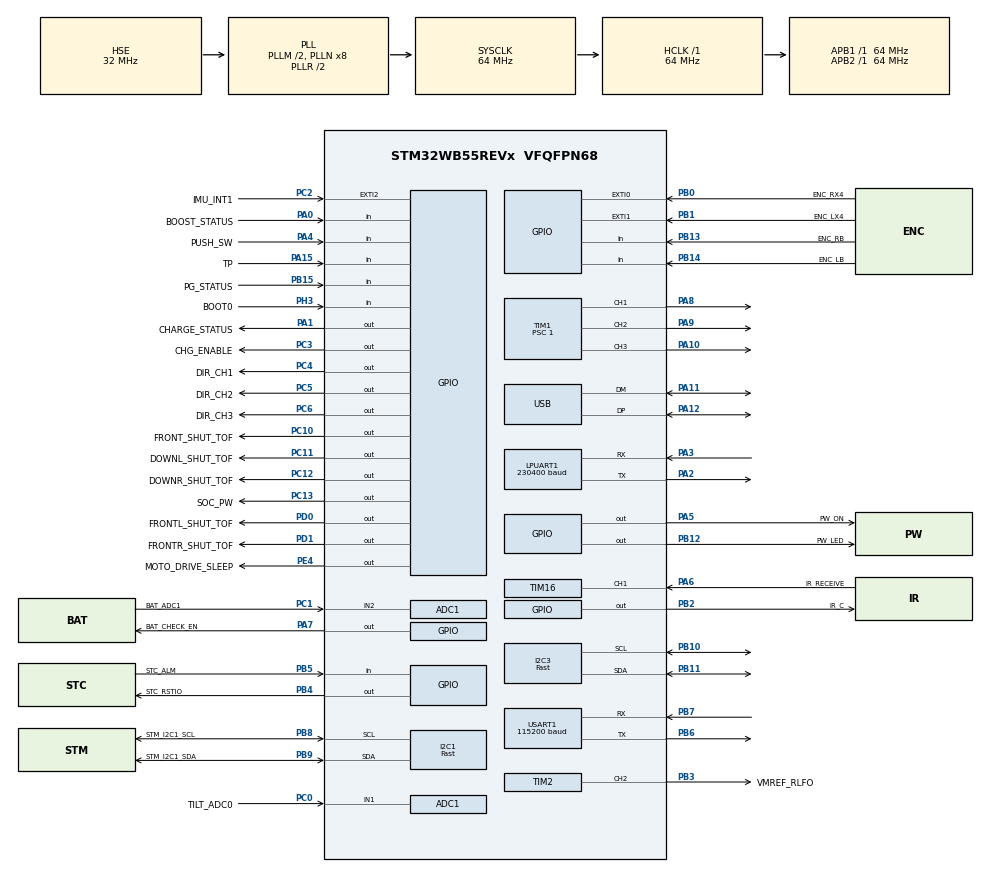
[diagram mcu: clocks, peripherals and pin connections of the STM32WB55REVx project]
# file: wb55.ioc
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ADC1.Channel-0\#ChannelRegularConversion=ADC_CHANNEL_1
ADC1.Channel-1\#ChannelRegularConversion=ADC_CHANNEL_1
ADC1.ClockPrescaler=ADC_CLOCK_ASYNC_DIV6
ADC1.ContinuousConvMode=ENABLE
ADC1.DMAContinuousRequests=ENABLE
ADC1.NbrOfConversion=2
ADC1.NbrOfConversionFlag=1
ADC1.OffsetNumber-0\#ChannelRegularConversion=ADC_OFFSET_NONE
ADC1.OffsetNumber-1\#ChannelRegularConversion=ADC_OFFSET_NONE
ADC1.Rank-0\#ChannelRegularConversion=1
ADC1.Rank-1\#ChannelRegularConversion=2
ADC1.Resolution=ADC_RESOLUTION_12B
ADC1.SamplingTime-0\#ChannelRegularConversion=ADC_SAMPLETIME_92CYCLES_5
ADC1.SamplingTime-1\#ChannelRegularConversion=ADC_SAMPLETIME_92CYCLES_5
ADC1.master=1
Dma.ADC1.1.Direction=DMA_PERIPH_TO_MEMORY
Dma.ADC1.1.EventEnable=DISABLE
Dma.ADC1.1.Instance=DMA1_Channel2
Dma.ADC1.1.MemDataAlignment=DMA_MDATAALIGN_HALFWORD
Dma.ADC1.1.MemInc=DMA_MINC_ENABLE
Dma.ADC1.1.Mode=DMA_CIRCULAR
Dma.ADC1.1.PeriphDataAlignment=DMA_PDATAALIGN_HALFWORD
Dma.ADC1.1.PeriphInc=DMA_PINC_DISABLE
Dma.ADC1.1.Polarity=HAL_DMAMUX_REQ_GEN_RISING
Dma.ADC1.1.Priority=DMA_PRIORITY_LOW
Dma.ADC1.1.RequestNumber=1
Dma.ADC1.1.SignalID=NONE
Dma.ADC1.1.SyncEnable=DISABLE
Dma.ADC1.1.SyncPolarity=HAL_DMAMUX_SYNC_NO_EVENT
Dma.ADC1.1.SyncRequestNumber=1
Dma.ADC1.1.SyncSignalID=NONE
Dma.LPUART1_TX.0.Direction=DMA_MEMORY_TO_PERIPH
Dma.LPUART1_TX.0.EventEnable=DISABLE
Dma.LPUART1_TX.0.Instance=DMA1_Channel1
Dma.LPUART1_TX.0.MemDataAlignment=DMA_MDATAALIGN_BYTE
Dma.LPUART1_TX.0.MemInc=DMA_MINC_ENABLE
Dma.LPUART1_TX.0.Mode=DMA_NORMAL
Dma.LPUART1_TX.0.PeriphDataAlignment=DMA_PDATAALIGN_BYTE
Dma.LPUART1_TX.0.PeriphInc=DMA_PINC_DISABLE
Dma.LPUART1_TX.0.Polarity=HAL_DMAMUX_REQ_GEN_RISING
Dma.LPUART1_TX.0.Priority=DMA_PRIORITY_LOW
Dma.LPUART1_TX.0.RequestNumber=1
Dma.LPUART1_TX.0.SignalID=NONE
Dma.LPUART1_TX.0.SyncEnable=DISABLE
Dma.LPUART1_TX.0.SyncPolarity=HAL_DMAMUX_SYNC_NO_EVENT
Dma.LPUART1_TX.0.SyncRequestNumber=1
Dma.LPUART1_TX.0.SyncSignalID=NONE
Dma.Request0=LPUART1_TX
Dma.Request1=ADC1
I2C1.I2C_Speed_Mode=I2C_Fast
I2C1.Timing=0x00602173
I2C3.I2C_Speed_Mode=I2C_Fast
I2C3.Timing=0x00602173
LPUART1.BaudRate=230400
LPUART1.FIFOMode=UART_FIFOMODE_DISABLE
LPUART1.OneBitSampling=UART_ONE_BIT_SAMPLE_ENABLE
LPUART1.RXFIFOThreshold=UART_RXFIFO_THRESHOLD_1_8
LPUART1.TXFIFOThreshold=UART_TXFIFO_THRESHOLD_1_8
LPUART1.WordLength=UART_WORDLENGTH_8B
Mcu.Family=STM32WB
Mcu.Name=STM32WB55REVx
Mcu.Package=VFQFPN68
Mcu.UserConstants=MAX_DC_SPEED,1600
NVIC.DMA1_Channel1_IRQn=true\:0\:0\:true\:false\:true\:false\:true
NVIC.DMA1_Channel2_IRQn=true\:0\:0\:false\:false\:true\:false\:true
NVIC.EXTI0_IRQn=true\:1\:0\:true\:false\:true\:true\:true
NVIC.EXTI1_IRQn=true\:1\:0\:true\:false\:true\:true\:true
NVIC.LPUART1_IRQn=true\:1\:0\:true\:false\:true\:true\:true
NVIC.PriorityGroup=NVIC_PRIORITYGROUP_4
NVIC.TIM1_TRG_COM_TIM17_IRQn=true\:1\:0\:true\:false\:true\:true\:true
NVIC.TIM1_UP_TIM16_IRQn=true\:1\:0\:true\:false\:true\:true\:true
NVIC.USART1_IRQn=true\:0\:0\:false\:false\:true\:true\:true
OSC_IN.Mode=HSE-External-Oscillator
OSC_IN.Signal=RCC_OSC_IN
OSC_OUT.Mode=HSE-External-Oscillator
OSC_OUT.Signal=RCC_OSC_OUT
PA0.GPIO_Label=BOOST_STATUS
PA0.Signal=GPIO_Input
PA1.GPIO_Label=CHARGE_STATUS
PA1.Signal=GPIO_Output
PA10.Signal=S_TIM1_CH3
PA11.Mode=Device
PA11.Signal=USB_DM
PA12.Mode=Device
PA12.Signal=USB_DP
PA13.Mode=Serial_Wire
PA13.Signal=SYS_JTMS-SWDIO
PA14.Mode=Serial_Wire
PA14.Signal=SYS_JTCK-SWCLK
PA15.GPIO_Label=TP
PA15.Signal=GPIO_Input
PA2.Mode=Asynchronous
PA2.Signal=LPUART1_TX
PA3.Mode=Asynchronous
PA3.Signal=LPUART1_RX
PA4.GPIO_Label=PUSH_SW
PA4.Signal=GPIO_Input
PA5.GPIO_Label=PW_ON
PA5.Signal=GPIO_Output
PA6.GPIO_Label=IR_RECEIVE
PA6.Signal=S_TIM16_CH1
PA7.GPIO_Label=BAT_CHECK_EN
PA7.Signal=GPIO_Output
PA8.Signal=S_TIM1_CH1
PA9.Signal=S_TIM1_CH2
PB0.GPIO_Label=ENC_RX4
PB0.GPIO_ModeDefaultEXTI=GPIO_MODE_IT_RISING_FALLING
PB0.Signal=GPXTI0
PB1.GPIO_Label=ENC_LX4
PB1.GPIO_ModeDefaultEXTI=GPIO_MODE_IT_RISING_FALLING
PB1.Signal=GPXTI1
PB10.Mode=I2C
PB10.Signal=I2C3_SCL
PB11.Mode=I2C
PB11.Signal=I2C3_SDA
PB12.GPIO_Label=PW_LED
PB12.Signal=GPIO_Output
PB13.GPIO_Label=ENC_RB
PB13.Signal=GPIO_Input
PB14.GPIO_Label=ENC_LB
PB14.Signal=GPIO_Input
PB15.GPIO_Label=PG_STATUS
PB15.Signal=GPIO_Input
PB2.GPIO_Label=IR_C
PB2.Signal=GPIO_Output
PB3.GPIO_Label=VMREF_RLFO
PB3.Signal=S_TIM2_CH2
PB4.GPIO_Label=STC_RSTIO
PB4.Signal=GPIO_Output
PB5.GPIO_Label=STC_ALM
PB5.Signal=GPIO_Input
PB6.Mode=Asynchronous
PB6.Signal=USART1_TX
PB7.Mode=Asynchronous
PB7.Signal=USART1_RX
PB8.GPIO_Label=STM_I2C1_SCL
PB8.Mode=I2C
PB8.Signal=I2C1_SCL
PB9.GPIO_Label=STM_I2C1_SDA
PB9.Mode=I2C
PB9.Signal=I2C1_SDA
PC0.GPIO_Label=TILT_ADC0
PC0.Signal=ADCx_IN1
PC1.GPIO_Label=BAT_ADC1
PC1.Signal=ADCx_IN2
PC10.GPIO_Label=FRONT_SHUT_TOF
PC10.Signal=GPIO_Output
PC11.GPIO_Label=DOWNL_SHUT_TOF
PC11.Signal=GPIO_Output
PC12.GPIO_Label=DOWNR_SHUT_TOF
PC12.Signal=GPIO_Output
PC13.GPIO_Label=SOC_PW
PC13.Signal=GPIO_Output
PC14-OSC32_IN.Mode=LSE-External-Oscillator
PC14-OSC32_IN.Signal=RCC_OSC32_IN
PC15-OSC32_OUT.Mode=LSE-External-Oscillator
PC15-OSC32_OUT.Signal=RCC_OSC32_OUT
PC2.GPIO_Label=IMU_INT1
PC2.Signal=GPXTI2
PC3.GPIO_Label=CHG_ENABLE
PC3.Signal=GPIO_Output
PC4.GPIO_Label=DIR_CH1
PC4.Signal=GPIO_Output
PC5.GPIO_Label=DIR_CH2
PC5.Signal=GPIO_Output
PC6.GPIO_Label=DIR_CH3
PC6.Signal=GPIO_Output
PD0.GPIO_Label=FRONTL_SHUT_TOF
PD0.Signal=GPIO_Output
PD1.GPIO_Label=FRONTR_SHUT_TOF
PD1.Signal=GPIO_Output
PE4.GPIO_Label=MOTO_DRIVE_SLEEP
PE4.Signal=GPIO_Output
PH3-BOOT0.GPIO_Label=BOOT0
PH3-BOOT0.Signal=GPIO_Input
ProjectManager.HeapSize=0x400
ProjectManager.StackSize=0x1000
ProjectManager.TargetToolchain=EWARM V8
RCC.ADCCLockSelection=RCC_ADCCLKSOURCE_SYSCLK
RCC.ADCFreq_Value=64000000
RCC.AHB2CLKDivider=RCC_SYSCLK_DIV2
RCC.AHBFreq_Value=64000000
RCC.APB1Freq_Value=64000000
RCC.APB1TimFreq_Value=64000000
RCC.APB2Freq_Value=64000000
RCC.APB2TimFreq_Value=64000000
RCC.APB3Freq_Value=16000000
RCC.CK48CLockSelection=RCC_USBCLKSOURCE_HSI48
RCC.CortexFreq_Value=64000000
RCC.HCLKFreq_Value=64000000
RCC.HSE_VALUE=32000000
RCC.HSI48_VALUE=48000000
RCC.HSI_VALUE=16000000
RCC.LPTIM1CLockSelection=RCC_LPTIM1CLKSOURCE_HSI
RCC.PLLM=RCC_PLLM_DIV2
RCC.PLLSAI1N=6
RCC.PLLSourceVirtual=RCC_PLLSOURCE_HSE
RCC.SMPSCLockSelectionVirtual=RCC_SMPSCLKSOURCE_HSE
RCC.SYSCLKFreq_VALUE=64000000
RCC.SYSCLKSource=RCC_SYSCLKSOURCE_PLLCLK
RCC.USBFreq_Value=48000000
RCC.VCOOutputFreq_Value=128000000
RF1.Mode=RF1_Activate
RF1.Signal=RF_RF1
RTC.AsynchPrediv=15
SH.ADCx_IN1.0=ADC1_IN1,IN1-Single-Ended
SH.ADCx_IN2.0=ADC1_IN2,IN2-Single-Ended
SH.S_TIM16_CH1.0=TIM16_CH1,Input_Capture1_from_TI1
SH.S_TIM1_CH1.0=TIM1_CH1,PWM Generation1 CH1
SH.S_TIM1_CH2.0=TIM1_CH2,PWM Generation2 CH2
SH.S_TIM1_CH3.0=TIM1_CH3,PWM Generation3 CH3
SH.S_TIM2_CH2.0=TIM2_CH2,PWM Generation2 CH2
STM32_WPAN.BLE_DBG_P2P_STM_EN=1
STM32_WPAN.CFG_DEBUG_APP_TRACE=0
STM32_WPAN.CFG_DEBUG_BLE_TRACE=0
STM32_WPAN.CFG_FAST_CONN_ADV_INTERVAL_MAX_HEXA=0xa0
STM32_WPAN.CFG_HW_LPUART1_ENABLED=0
STM32_WPAN.CFG_HW_USART1_ENABLED=0
STM32_WPAN.CFG_LP_CONN_ADV_INTERVAL_MAX_HEXA=0xfa0
STM32_WPAN.CUSTOM_P2P_SERVER=Enabled
STM32_WPAN.L2CAP_REQUEST_NEW_CONN_PARAM=1
STM32_WPAN.LOCAL_NAME=WB55BDH
STM32_WPAN.LOCAL_NAME_FORMATTED=,'W','B','5','5','B','D','H'
TIM1.Channel-PWM\ Generation1\ CH1=TIM_CHANNEL_1
TIM1.Channel-PWM\ Generation2\ CH2=TIM_CHANNEL_2
TIM1.Channel-PWM\ Generation3\ CH3=TIM_CHANNEL_3
TIM1.OCFastMode_PWM-PWM\ Generation1\ CH1=TIM_OCFAST_ENABLE
TIM1.OCFastMode_PWM-PWM\ Generation2\ CH2=TIM_OCFAST_ENABLE
TIM1.OCFastMode_PWM-PWM\ Generation3\ CH3=TIM_OCFAST_ENABLE
TIM1.Prescaler=1
TIM16.Channel=TIM_CHANNEL_1
TIM16.ICPolarity_CH1=TIM_INPUTCHANNELPOLARITY_BOTHEDGE
TIM16.Period=0xffff
TIM16.Prescaler=64-1
TIM17.Period=1000-1
TIM17.Prescaler=64-1
TIM2.Channel-PWM\ Generation2\ CH2=TIM_CHANNEL_2
TIM2.Period=6400-1
TIM2.Pulse-PWM\ Generation2\ CH2=2560
USART1.BaudRate=115200
USART1.FIFOMode=FIFOMODE_ENABLE
USART1.RXFIFOThreshold=RXFIFO_THRESHOLD_7EIGHTHFULL
USART1.TXFIFOThreshold=TXFIFO_THRESHOLD_7EIGHTHFULL
USART1.VirtualMode-Asynchronous=VM_ASYNC
USART1.WordLength=WORDLENGTH_8B
VP_HSEM_VS_HSEM.Mode=HSEM_Activate
VP_RTC_VS_RTC_Activate.Mode=RTC_Enabled
VP_STM32_WPAN_VS_BLE_HOST.Mode=STM32_WPAN_Enabled
VP_TIM16_VS_ClockSourceINT.Mode=Enable_Timer
VP_TIM17_VS_ClockSourceINT.Mode=Enable_Timer
board=custom

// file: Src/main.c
/* USER CODE BEGIN Header */
/**
 ******************************************************************************
 * @file           : main.c
 * @brief          : Main program body
 ******************************************************************************
 * @attention
 *
 * <h2><center>&copy; Copyright (c) 2019 STMicroelectronics.
 * All rights reserved.</center></h2>
 *
 * This software component is licensed by ST under Ultimate Liberty license
 * SLA0044, the "License"; You may not use this file except in compliance with
 * the License. You may obtain a copy of the License at:
 *                             www.st.com/SLA0044
 *
 ******************************************************************************
 */
/* USER CODE END Header */

#include "main.h"
#include "adc.h"
#include "dma.h"
#include "i2c.h"
#include "usart.h"
#include "rf.h"
#include "rtc.h"
#include "app_ble.h"
#include "app_entry.h"
#include "app_common.h"
#include "tim.h"
#include "usb.h"
#include "gpio.h"
#include "stm32_seq.h"
#include "tof.h"
#include "tof_vl53l1.h"
#include <math.h>

/* USER CODE BEGIN Includes */
#include "uuid.h"
#include "simple.pb-c.h"
#include "hi2st-parser.h"
#include "timer.h"
#include "Motor.h"
#include "UpdateFW.h"
#include "uart_trace.h"
#include "IR_Trace.h"
#include "Trace_Station.h"
#include "p2p_client_app.h"
#include "Sensor.h"
/* USER CODE END Includes */

#ifndef M_PI
#define M_PI 3.1415926535f
#endif

/* USER CODE BEGIN PD */
void TOFOnOff(uint8_t bOn);
void MotorOnOff(uint8_t bOn);
void DimmingLEDOnOff(uint8_t bOn);

/* USER CODE END PD */

/* USER CODE BEGIN PV */
SYSTEM_key  sys;
uint16_t ADC_value[3];
extern UART_HandleTypeDef hlpuart1;
extern UART_HandleTypeDef huart1;
extern motor_TypeDef DCMOTOR;
extern int16_t countLeftSending;
extern int16_t countRightSending;
extern int16_t lenc;
extern int16_t renc;
extern APP_BLE_Mode_t BleMode;

extern uint8_t elssen_check_cnt;
extern uint32_t nTimerOnCnt;

ToHi tohi = TO_HI__INIT;
extern ProtobufCAllocator protobuf_c_to_st_allocator;

/* USER CODE END PV */

void SystemClock_Config(void);
/* USER CODE BEGIN PFP */

static uint8_t step = 1;
float m_ROBOT_WHEEL_DISTANCE;
float m_ROBOT_WHEEL_RADIUS  ;
float m_ENCODER_PER_1_CYCLE ;
float m_ROBOT_MOVE_PER_TICK ;
float lx, ly, cx, cy, rx, ry;
float theta;

float bat_vol;
static int BreakMode;

void Sys_Getdata(SYSTEM_key* sdata)
{
    *sdata = sys;
}

void sensorRequestProcess(ToSt *to_st) {
    // Wheel Motor Control
    if( to_st->has_l_speed)
    {
        DCMOTOR.Value.l_cmdrpm = to_st->l_speed;
    }
    if( to_st->has_r_speed)
    {
        DCMOTOR.Value.r_cmdrpm = to_st->r_speed;
    }

    if(to_st->has_neck_speed)
    {
        DCMOTOR.Value.n_sour=to_st->neck_speed;
    }

    // set sensor 'has' values
    if(to_st->has_request_st_info)
    {
        if(to_st->request_st_info&ST_INFO__TOF)      tohi.has_tof=1;
        if(to_st->request_st_info&ST_INFO__ACC)
        {
            tohi.has_accx=1;
            tohi.has_accy=1;
            tohi.has_accz=1;
        }
        if(to_st->request_st_info&ST_INFO__GYRO)
        {
            tohi.has_gyro_x=1;
            tohi.has_gyro_y=1;
            tohi.has_gyro_z=1;
        }
        if(to_st->request_st_info&ST_INFO__IMU)
        {
            IR_DIRECTION temp;
            temp = Ir_GetDirection();
            tohi.has_yaw=1;
            tohi.has_pitch=1;
            tohi.has_roll=1;
            tohi.yaw = (float)temp.long_distance.bytes.long_r;
            tohi.pitch = (float)temp.long_distance.bytes.long_c;
            tohi.roll = (float)temp.long_distance.bytes.long_l;
            tohi.gyro_x = (float)temp.long_distance.bytes.long_r;
            tohi.gyro_y = (float)temp.long_distance.bytes.long_c;
            tohi.gyro_z = (float)temp.long_distance.bytes.long_l;
            tohi.has_battery=1;
            tohi.battery = ST_READ_PG;
        }

        if(to_st->request_st_info&ST_INFO__ENC)
        {
            tohi.has_lenc=1;
            tohi.has_renc=1;
            tohi.lenc = countLeftSending;
            tohi.renc = countRightSending;
            countLeftSending = countRightSending = 0;
        }

        if(to_st->request_st_info&ST_INFO__BATTERY)
        {
            //tohi.has_battery=1;
        }

    }

    pushToHi(&huart1, &tohi);

    tohi.has_tof=0;
    tohi.has_accx=0;
    tohi.has_accy=0;
    tohi.has_accz=0;
    tohi.has_gyro_x=0;
    tohi.has_gyro_y=0;
    tohi.has_gyro_z=0;
    tohi.has_yaw=0;
    tohi.has_pitch=0;
    tohi.has_roll=0;
    tohi.has_lenc=0;
    tohi.has_renc=0;
}

void onBleMessageFromHi(uint8_t* buf, size_t requiredBytes)
{
    ToSt* tost = to_st__unpack(&protobuf_c_to_st_allocator, requiredBytes, buf);

    if( !tost ) {
        return;
    }

    // HIS -> ST ( F/W update | Motor Control )
    sensorRequestProcess(tost);

    // HOST -> ST ( Control Direct )
    // Wheel Motor Control
    if( tost->has_l_speed)
    {
        DCMOTOR.Value.l_cmdrpm = tost->l_speed;
    }
    if( tost->has_r_speed)
    {
        DCMOTOR.Value.r_cmdrpm = tost->r_speed;
    }

    // Neck Motor Control
    if(tost->has_neck_speed)
    {
        DCMOTOR.Value.n_sour = tost->neck_speed;
    }

    if(tost->sensor_set)
    {
        SENSOR_Set_t sensorset;

        MacAddressStringToBytes((uint8_t *)tost->sensor_set->sensor_mac_address, sensorset.macAddress);

        sensorset.sensortype = tost->sensor_set->sensor_type;

        sensorset.bInterruptAlarm = tost->sensor_set->interrupt_alarm;

        sensorset.notify_period = tost->sensor_set->notify_period;

        sensorset.period_alarm = tost->sensor_set->period_alarm;

        sensorset.upper_threshold = tost->sensor_set->upper_threshold;

        sensorset.lower_threshold = tost->sensor_set->lower_threshold;

        AddSensorSetList(&sensorset, 1);
    }

	if(tost->has_do_charge)
    {
        if(tost->do_charge)
        {
            Set_ChargeMode();
        }
        else
        {
            Clear_ChargeMode();
            Clear_InnerStaticVar();
        }
    }

    if(tost->has_test_1)
    {
      TOFOnOff(tost->test_1);
    }

    if(tost->has_test_2)
    {
      MotorOnOff(tost->test_2);
    }

    if(tost->has_test_3)
    {
      DimmingLEDOnOff(tost->test_3);
    }
	if(tost->has_test_10)
    {
        BreakMode ^= 1;
    }

    to_st__free_unpacked(tost, &protobuf_c_to_st_allocator);
}

// Set-Up only. Another function will comes with [HOST -> HI -> ST] root.
void onBleMessageFromAndroid(uint8_t* buf, size_t requiredBytes)
{
  ToSt* tost = to_st__unpack(&protobuf_c_to_st_allocator, requiredBytes, buf);

  if( tost->has_l_speed)
  {
      DCMOTOR.Value.l_cmdrpm = tost->l_speed;
  }
  if( tost->has_r_speed)
  {
      DCMOTOR.Value.r_cmdrpm = tost->r_speed;
  }

  to_st__free_unpacked(tost, &protobuf_c_to_st_allocator);
}

void battery_monitor_update(void) {
    //uart_printf("BAT %u\r\n", pin_value);
    bat_vol = (BATADC_VAL * 3.3) / 4096;
    bat_vol *= 2;
}

void gnpSame(int16_t l, int16_t r) {
    float moveDist = l * m_ROBOT_MOVE_PER_TICK;
    lx += moveDist * cosf(theta + (M_PI/2.f));
    ly += moveDist * sinf(theta + (M_PI/2.f));
    rx += moveDist * cosf(theta + (M_PI/2.f));
    ry += moveDist * sinf(theta + (M_PI/2.f));
}

void gnpTurn(int16_t l, int16_t r) {
    int16_t absl = l;
    int16_t absr = r;
    if( l < 0 ) absl = -absl;
    if( r < 0 ) absr = -absr;

    float moveL = absl * m_ROBOT_MOVE_PER_TICK;
    float moveR = absr * m_ROBOT_MOVE_PER_TICK;
    float ox = (moveL*rx + moveR*lx) / (moveL + moveR);
    float oy = (moveL*ry + moveR*ly) / (moveL + moveR);
    float lx_dist = ox-lx, ly_dist = oy-ly;
    float ldist = sqrtf( lx_dist*lx_dist + ly_dist*ly_dist );
    float rx_dist = ox-rx, ry_dist = oy-ry;
    float rdist = sqrtf( rx_dist*rx_dist + ry_dist*ry_dist );
    float dtheta;
    if( absl > absr ) dtheta = moveL / ldist;
    else        dtheta = moveR / rdist;
    if( l > r ) {
        if(dtheta > 0.f) dtheta = -dtheta;
    } else {
        if(dtheta < 0.f) dtheta = -dtheta;
    }

    theta += dtheta;

    lx = ox + ldist * cosf(M_PI + theta);
    ly = oy + ldist * sinf(M_PI + theta);
    rx = ox + rdist * cosf(theta);
    ry = oy + rdist * sinf(theta);
}

void gnpDiff(int16_t l, int16_t r) {
    float moveL = l * m_ROBOT_MOVE_PER_TICK;
    float moveR = r * m_ROBOT_MOVE_PER_TICK;
    float ox = (moveL*rx - moveR*lx) / (moveL-moveR);
    float oy = (moveL*ry - moveR*ly) / (moveL-moveR);
    float lx_dist = ox-lx, ly_dist = oy-ly;
    float ldist = sqrtf( lx_dist*lx_dist + ly_dist*ly_dist );
    float rx_dist = ox-rx, ry_dist = oy-ry;
    float rdist = sqrtf( rx_dist*rx_dist + ry_dist*ry_dist );
    float dtheta;
    if( l ) dtheta = moveL / ldist;
    else dtheta = moveR / rdist;
    if( l > r ) {
        if(dtheta > 0.f) dtheta = -dtheta;
    } else {
        if(dtheta < 0.f) dtheta = -dtheta;
    }
    theta += dtheta;

    if( l < 0 ) l = -l;
    if( r < 0 ) r = -r;

    if( l < r ) {
        lx = ox + ldist * cosf(theta);
        ly = oy + ldist * sinf(theta);
        rx = ox + rdist * cosf(theta);
        ry = oy + rdist * sinf(theta);
    } else {
        lx = ox + ldist * cosf(M_PI + theta);
        ly = oy + ldist * sinf(M_PI + theta);
        rx = ox + rdist * cosf(M_PI + theta);
        ry = oy + rdist * sinf(M_PI + theta);
    }
}

void calpos() {
#if 0
    int16_t l = -lenc;
    int16_t r = -renc;
    lenc = renc = 0;

    if( l || r ) {
        if( l == r ) {
            gnpSame(l, r);
        } else if( l * r < 0 ) {
            gnpTurn(l, r);
        } else {
            gnpDiff(l, r);
        }
    }
    if( theta < 0.f ) theta += 2.f*M_PI;
    else if( theta > 2.f*M_PI ) theta -= 2.f*M_PI;
    tohi.cx = (lx+rx)/2.f;
    tohi.cy = (ly+ry)/2.f;
    tohi.th = theta;
#endif
}

/* USER CODE END PFP */

/* USER CODE BEGIN 0 */
void Parse_Ble()
{
  uint8_t remain_size = 0;
  remain_size = parseBleFromHi(&onBleMessageFromHi);
  if(remain_size != 0)
  {
    UTIL_SEQ_SetTask( 1<<CFG_TASK_PARSE_BLE_ID, CFG_SCH_PRIO_0);
  }

  remain_size = parseBleFromAndroid(&onBleMessageFromAndroid);
  if(remain_size != 0)
  {
    UTIL_SEQ_SetTask( 1<<CFG_TASK_PARSE_BLE_ID, CFG_SCH_PRIO_0);
  }
}

void Timer_Check()
{
  int state_curr = 0;
  int state_prev = 0;
  uint16_t dt=0;
  static int16_t tspd=0;

  if(onCheckTimer(Timer_BatCheck)) {
      timerReset(Timer_BatCheck);
      static int b = 0;
      b++;
      if(b % 2) {
          //HAL_GPIO_WritePin(GPIOB, PW_LED_Pin, GPIO_PIN_RESET);
      }
      else {
          //HAL_GPIO_WritePin(GPIOB, PW_LED_Pin, GPIO_PIN_SET);
      }

      battery_monitor_update();
  }
  if(onCheckTimer(Timer_IMU_20ms)) //2.5ms 模蹂...
  {
  	  if(Get_ChargeMode())
      {
        UTIL_SEQ_SetTask( 1<<CFG_TASK_CONTROL_ROBOT_ID, CFG_SCH_PRIO_0);
      }
      timerReset(Timer_IMU_20ms);
      /* get the algorithm state, enable or disable */
      state_curr = GetAlgoState();
      if(state_curr)
      {
          /* if previous state is 0, current state is 1, that means restart the algorithm*/
          if(state_curr != state_prev)
          {
              Enable_Algo();
          }
          /*Read sensor data and call the algorithm function*/
          dt=AlgoPoll();

          calpos();
      }
      state_prev = state_curr;
      /* need to delay some time to get a stable sampling rate */

      tohi.has_power_button_pressed=1;
      tohi.power_button_pressed = HAL_GPIO_ReadPin(GPIOA, PUSH_SW_Pin);

      if( tohi.power_button_pressed ) {
          lx = 1.5f - (m_ROBOT_WHEEL_DISTANCE / 2.f);
          ly = 1.5f;
          cx = 1.5f;
          cy = 1.5f;
          rx = 1.5f + (m_ROBOT_WHEEL_DISTANCE / 2.f);
          ry = 1.5f;
          theta = 0.f;
      }

      {
          static int8_t button_pressed_count = 0;

          // read continuous button pressed time (20ms x 100 = 2 sec)
          if( HAL_GPIO_ReadPin(GPIOA, PUSH_SW_Pin) ) {
              button_pressed_count ++;
          } else {
              button_pressed_count = 0;
          }

          // if over 2 sec button pushed
          if( button_pressed_count > 100 ) {
              static int printcount = 0;
              if( ++printcount > 5 ) { // 100ms
                uart_printf("if button un-pressed exit\r\n");
                printcount = 0;
              }
              button_pressed_count = 100;

              // exit hi
              HAL_GPIO_WritePin(GPIOC, SOC_PW_Pin, GPIO_PIN_RESET);

              // exit st
              HAL_GPIO_WritePin(GPIOA, PW_ON_Pin, GPIO_PIN_RESET);
          }
      }

  }
  if(onCheckTimer(Timer_TOF_10ms))
  {
      timerReset(Timer_TOF_10ms);

      //if(TOF_53l1_MeasureRange(1)==VL53l1_GET_MEASURE)
      {
      }
  }
  if(onCheckTimer(Timer_MOTOR))
  {
      timerReset(Timer_MOTOR);

#define ENCODER_MODE
#ifdef ENCODER_MODE
#if 1
    if(BreakMode)
    {
      if(sys.tof_org_rang < 350)
      {
        //LEFT_BREAK();
        //RIGHT_BREAK();
        DCMOTOR.Value.r_cmdrpm = 0;
        DCMOTOR.Value.l_cmdrpm = 0;
        DCMOTOR.Value.r_sour = 0;
        DCMOTOR.Value.l_sour = 0;
      }
    }
#endif
      if(DCMOTOR.Value.spd!=tspd)
      {
          DCMOTOR.Value.r_cmdrpm=DCMOTOR.Value.spd;
          DCMOTOR.Value.l_cmdrpm=DCMOTOR.Value.spd;
          tspd=DCMOTOR.Value.spd;
      }
      //DCMOTOR.Value.ts=(float)getPeriodTimer(Timer_MOTOR)/1000.0f;
      //DCMOTOR.Value.ts /= 1000.0f;
      LSetspeed(&DCMOTOR);
      RSetspeed(&DCMOTOR);
#else
      DCMOTOR.Value.r_sour=DCMOTOR.Value.spd;
      DCMOTOR.Value.l_sour=DCMOTOR.Value.spd;
#endif
      Mobile_DC(&DCMOTOR);
      if(TILTPOS<1900 && (DCMOTOR.Value.n_sour<0))DCMOTOR.Value.n_sour=0;
      if(TILTPOS>2300 && (DCMOTOR.Value.n_sour>0))DCMOTOR.Value.n_sour=0;
      Neck_DC(&DCMOTOR);
  }

  // adverting Sensor data change
  if(onCheckTimer(Timer_Sensor_Data_1000ms))
  {
    timerReset(Timer_Sensor_Data_1000ms);
    //if(BleMode == APP_BLE_SERVER)
    //{
      //AdvData_Change();
      //pir_irq = 0;
      //hall_irq = 0;
    //}
    //else if(BleMode == APP_BLE_CLIENT)
    if(BleMode == APP_BLE_CLIENT)
    {
      CheckSensorDataSend();
    }
  }

  if(onCheckTimer(Timer_Scan_Canecl))
  {
    killTimer(Timer_Scan_Canecl);
    Scan_Stop();
  }

  if(onCheckTimer(Timer_Elssen_connection_check))
  {
    elssen_check_cnt++;
    if(elssen_check_cnt >= 10) // Connect and receive data in 10 seconds
    {
      ElssenConnectStop();
      killTimer(Timer_Elssen_connection_check);
    }
    else
    {
      timerReset(Timer_Elssen_connection_check);
    }
  }

  if(onCheckTimer(Timer_IRCHECK))
  {
      timerReset(Timer_IRCHECK);
      Ir_Process();
  }

  if(nTimerOnCnt > 0)
  {
    nTimerOnCnt--;
    UTIL_SEQ_SetTask( 1<<CFG_TASK_TIMER_CHECK_ID, CFG_SCH_PRIO_0);
  }

}

/* USER CODE END 0 */

int main(void)
{

    /* MCU Configuration--------------------------------------------------------*/

    /* Reset of all peripherals, Initializes the Flash interface and the Systick. */
    HAL_Init();

    /* Configure the system clock */
    SystemClock_Config();

    /* Initialize all configured peripherals */
    MX_GPIO_Init();
    /*if(HAL_GPIO_ReadPin(GPIOA, PUSH_SW_Pin))*/
    {
        HAL_GPIO_WritePin(GPIOA, PW_ON_Pin, GPIO_PIN_SET);
        HAL_GPIO_WritePin(GPIOC, SOC_PW_Pin, GPIO_PIN_SET);
        HAL_GPIO_WritePin(GPIOB, PW_LED_Pin, GPIO_PIN_RESET);
    }
        /*HAL_GPIO_WritePin(GPIOC, SOC_PW_Pin, GPIO_PIN_SET);*/
        /*HAL_GPIO_WritePin(GPIOA, PW_ON_Pin, GPIO_PIN_SET);*/
    HAL_GPIO_WritePin(BAT_CHECK_EN_GPIO_Port, BAT_CHECK_EN_Pin, GPIO_PIN_SET);

    MX_DMA_Init();
    MX_I2C1_Init();
    MX_TIM1_Init();
    MX_USART1_UART_Init();
    HAL_UART_Receive_IT(&huart1, "a", 1);
    MX_USB_PCD_Init();
    MX_ADC1_Init();
    MX_TIM17_Init();
    MX_I2C3_Init();
    MX_LPUART1_UART_Init();
    //HAL_UART_Receive_IT(&hlpuart1, "a", 1);
    MX_TIM2_Init();
    MX_TIM16_Init();
    //MX_RF_Init();
    MX_RTC_Init();
    /* USER CODE BEGIN 2 */

    APPE_Init();
    /* registerCallbackBleFromHi(&onBleMessageFromHi); */
    /* registerCallbackBleFromAndroid(&onBleMessageFromAndroid); */
    //setPw(ON);
    //setSocPw(ON);
    HAL_ADC_Start_DMA(&hadc1,(uint32_t *)ADC_value,2);
    HAL_TIM_PWM_Start(&htim1, TIM_CHANNEL_1);
    HAL_TIM_PWM_Start(&htim1, TIM_CHANNEL_2);
    HAL_TIM_PWM_Start(&htim1, TIM_CHANNEL_3);
    HAL_TIM_PWM_Start(&htim2, TIM_CHANNEL_2);  //V_ref
    setTimer(Timer_TOF_10ms,	10, TIME_RESET);
    setTimer(Timer_IMU_20ms,	20, TIME_RESET);
    setTimer(Timer_MOTOR, 	20, TIME_RESET);
    setTimer(Timer_BatCheck,	500, TIME_RESET);
#if 1
    initializeAllSensors();//GYRO ACCEL
    enableAllSensors();
    Imu_mag_init();
    encoder_init_check();
#endif
    uart_printf("Dev Set\r\n");
    //HAL_UART_Transmit(&huart1, "uart1\r\n", 10, 10);
	Ir_Init_Buffer();

    UTIL_SEQ_RegTask( 1<< CFG_TASK_PARSE_BLE_ID, UTIL_SEQ_RFU, Parse_Ble );
    UTIL_SEQ_RegTask( 1<< CFG_TASK_TIMER_CHECK_ID, UTIL_SEQ_RFU, Timer_Check );
    UTIL_SEQ_RegTask( 1<< CFG_TASK_CONTROL_ROBOT_ID, UTIL_SEQ_RFU, Charge_Process );
    setTimer(Timer_Sensor_Data_1000ms, 1000, TIME_RESET);

    /* USER CODE END 2 */

    /* Infinite loop */
    /* USER CODE BEGIN WHILE */

m_ROBOT_WHEEL_DISTANCE = 0.1320f;
m_ROBOT_WHEEL_RADIUS   = 0.0628f;
m_ENCODER_PER_1_CYCLE  = 900.f;
m_ROBOT_MOVE_PER_TICK  = 2 * M_PI * m_ROBOT_WHEEL_RADIUS /                 m_ENCODER_PER_1_CYCLE;
lx = 1.5f - (m_ROBOT_WHEEL_DISTANCE / 2.f);
ly = 1.5f;
cx = 1.5f;
cy = 1.5f;
rx = 1.5f + (m_ROBOT_WHEEL_DISTANCE / 2.f);
ry = 1.5f;
theta = 0.f;

    while (1)
    {
        //HAL_GPIO_TogglePin(GPIOA, TP_Pin);
        UTIL_SEQ_Run( UTIL_SEQ_DEFAULT );
        /* USER CODE END WHILE */
    }
}

void SystemClock_Config(void)
{
    RCC_OscInitTypeDef RCC_OscInitStruct = {0};
    RCC_ClkInitTypeDef RCC_ClkInitStruct = {0};
    RCC_PeriphCLKInitTypeDef PeriphClkInitStruct = {0};

  /** Configure the main internal regulator output voltage
  */
  __HAL_PWR_VOLTAGESCALING_CONFIG(PWR_REGULATOR_VOLTAGE_SCALE1);
  /** Initializes the CPU, AHB and APB busses clocks
  */
  RCC_OscInitStruct.OscillatorType = RCC_OSCILLATORTYPE_HSI48|RCC_OSCILLATORTYPE_HSI
                              |RCC_OSCILLATORTYPE_LSI1|RCC_OSCILLATORTYPE_HSE
                              |RCC_OSCILLATORTYPE_MSI;
  RCC_OscInitStruct.HSEState = RCC_HSE_ON;
  RCC_OscInitStruct.HSIState = RCC_HSI_ON;
  RCC_OscInitStruct.MSIState = RCC_MSI_ON;
  RCC_OscInitStruct.HSI48State = RCC_HSI48_ON;
  RCC_OscInitStruct.HSICalibrationValue = RCC_HSICALIBRATION_DEFAULT;
  RCC_OscInitStruct.MSICalibrationValue = RCC_MSICALIBRATION_DEFAULT;
  RCC_OscInitStruct.MSIClockRange = RCC_MSIRANGE_6;
  RCC_OscInitStruct.LSIState = RCC_LSI_ON;
  RCC_OscInitStruct.PLL.PLLState = RCC_PLL_ON;
  RCC_OscInitStruct.PLL.PLLSource = RCC_PLLSOURCE_HSE;
  RCC_OscInitStruct.PLL.PLLM = RCC_PLLM_DIV2;
  RCC_OscInitStruct.PLL.PLLN = 8;
  RCC_OscInitStruct.PLL.PLLP = RCC_PLLP_DIV2;
  RCC_OscInitStruct.PLL.PLLR = RCC_PLLR_DIV2;
  RCC_OscInitStruct.PLL.PLLQ = RCC_PLLQ_DIV2;
  if (HAL_RCC_OscConfig(&RCC_OscInitStruct) != HAL_OK)
  {
    Error_Handler();
  }
  /** Configure the SYSCLKSource, HCLK, PCLK1 and PCLK2 clocks dividers
  */
  RCC_ClkInitStruct.ClockType = RCC_CLOCKTYPE_HCLK4|RCC_CLOCKTYPE_HCLK2
                              |RCC_CLOCKTYPE_HCLK|RCC_CLOCKTYPE_SYSCLK
                              |RCC_CLOCKTYPE_PCLK1|RCC_CLOCKTYPE_PCLK2;
  RCC_ClkInitStruct.SYSCLKSource = RCC_SYSCLKSOURCE_PLLCLK;
  RCC_ClkInitStruct.AHBCLKDivider = RCC_SYSCLK_DIV1;
  RCC_ClkInitStruct.APB1CLKDivider = RCC_HCLK_DIV1;
  RCC_ClkInitStruct.APB2CLKDivider = RCC_HCLK_DIV1;
  RCC_ClkInitStruct.AHBCLK2Divider = RCC_SYSCLK_DIV2;
  RCC_ClkInitStruct.AHBCLK4Divider = RCC_SYSCLK_DIV1;

  if (HAL_RCC_ClockConfig(&RCC_ClkInitStruct, FLASH_LATENCY_3) != HAL_OK)
  {
    Error_Handler();
  }
  /** Initializes the peripherals clocks
  */
  PeriphClkInitStruct.PeriphClockSelection = RCC_PERIPHCLK_SMPS|RCC_PERIPHCLK_RFWAKEUP
                              |RCC_PERIPHCLK_RTC|RCC_PERIPHCLK_USART1
                              |RCC_PERIPHCLK_LPUART1|RCC_PERIPHCLK_I2C1
                              |RCC_PERIPHCLK_I2C3|RCC_PERIPHCLK_USB
                              |RCC_PERIPHCLK_ADC;
  PeriphClkInitStruct.Usart1ClockSelection = RCC_USART1CLKSOURCE_PCLK2;
  PeriphClkInitStruct.Lpuart1ClockSelection = RCC_LPUART1CLKSOURCE_PCLK1;
  PeriphClkInitStruct.I2c1ClockSelection = RCC_I2C1CLKSOURCE_PCLK1;
  PeriphClkInitStruct.I2c3ClockSelection = RCC_I2C3CLKSOURCE_PCLK1;
  PeriphClkInitStruct.UsbClockSelection = RCC_USBCLKSOURCE_HSI48;
  PeriphClkInitStruct.AdcClockSelection = RCC_ADCCLKSOURCE_SYSCLK;
  PeriphClkInitStruct.RTCClockSelection = RCC_RTCCLKSOURCE_LSI;
  PeriphClkInitStruct.RFWakeUpClockSelection = RCC_RFWKPCLKSOURCE_LSI;
  PeriphClkInitStruct.SmpsClockSelection = RCC_SMPSCLKSOURCE_HSE;
  PeriphClkInitStruct.SmpsDivSelection = RCC_SMPSCLKDIV_RANGE0;

  if (HAL_RCCEx_PeriphCLKConfig(&PeriphClkInitStruct) != HAL_OK)
  {
    Error_Handler();
  }
  HAL_RCC_MCOConfig(RCC_MCO3, RCC_MCO1SOURCE_SYSCLK, RCC_MCODIV_1);
}

/* USER CODE BEGIN 4 */
void TOFOnOff(uint8_t bOn)
{
  if(bOn == 1)
  {
    HAL_GPIO_WritePin(FRONTL_SHUT_TOF_GPIO_Port, FRONTR_SHUT_TOF_Pin, GPIO_PIN_RESET);
  }
  else
  {
    HAL_GPIO_WritePin(FRONTL_SHUT_TOF_GPIO_Port, FRONTR_SHUT_TOF_Pin, GPIO_PIN_SET);
  }
}

void MotorOnOff(uint8_t bOn)
{
  if(bOn == 1)
  {
    HAL_GPIO_WritePin(MOTO_DRIVE_SLEEP_GPIO_Port, MOTO_DRIVE_SLEEP_Pin, GPIO_PIN_RESET);
  }
  else
  {
    HAL_GPIO_WritePin(MOTO_DRIVE_SLEEP_GPIO_Port, MOTO_DRIVE_SLEEP_Pin, GPIO_PIN_SET);
  }
}

void DimmingLEDOnOff(uint8_t bOn)
{
  if(bOn == 1)
  {
    HAL_GPIO_WritePin(TP_GPIO_Port, TP_Pin, GPIO_PIN_RESET);
  }
  else
  {
    HAL_GPIO_WritePin(TP_GPIO_Port, TP_Pin, GPIO_PIN_SET);
  }
}

/* USER CODE END 4 */

void Error_Handler(void)
{
}

/************************ (C) COPYRIGHT STMicroelectronics *****END OF FILE****/
